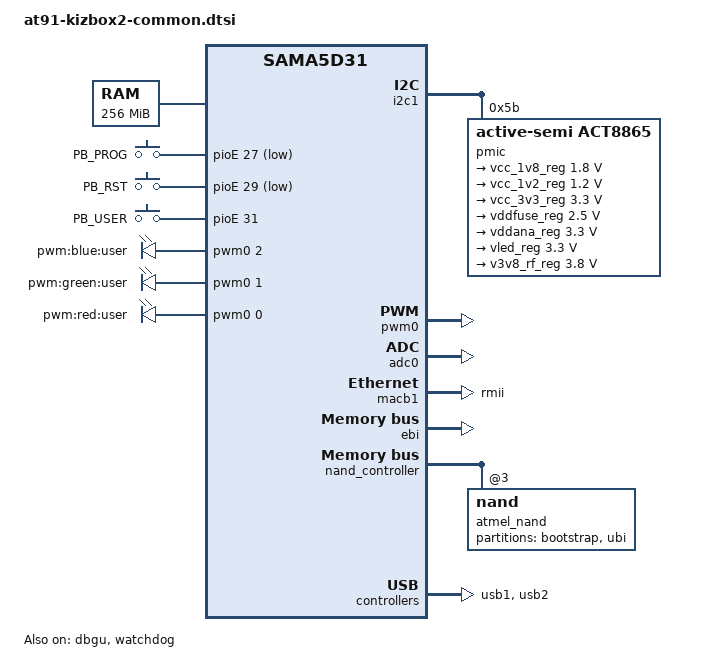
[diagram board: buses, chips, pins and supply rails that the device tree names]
// SPDX-License-Identifier: GPL-2.0
/*
 * at91-kizbox2_common.dtsi - Device Tree Include file for
 * Overkiz Kizbox 2 family SoC
 *
 * Copyright (C) 2014-2018 Overkiz SAS
 *
 * Authors: Antoine Aubert <a.aubert@overkiz.com>
 *          Gaël Portay <g.portay@overkiz.com>
 *          Kévin Raymond <k.raymond@overkiz.com>
 */
#include "sama5d31.dtsi"

/ {
	chosen {
		bootargs = "ubi.mtd=ubi";
		stdout-path = &dbgu;
	};

	memory@20000000 {
		reg = <0x20000000 0x10000000>;
	};

	clocks {
		slow_xtal {
			clock-frequency = <32768>;
		};

		main_xtal {
			clock-frequency = <12000000>;
		};
	};

	gpio_keys {
		compatible = "gpio-keys";
		#address-cells = <1>;
		#size-cells = <0>;

		prog {
			label = "PB_PROG";
			gpios = <&pioE 27 GPIO_ACTIVE_LOW>;
			linux,code = <0x102>;
			wakeup-source;
		};

		reset {
			label = "PB_RST";
			gpios = <&pioE 29 GPIO_ACTIVE_LOW>;
			linux,code = <0x100>;
			wakeup-source;
		};

		user {
			label = "PB_USER";
			gpios = <&pioE 31 GPIO_ACTIVE_HIGH>;
			linux,code = <0x101>;
			wakeup-source;
		};
	};

	pwm_leds {
		compatible = "pwm-leds";

		blue {
			label = "pwm:blue:user";
			pwms = <&pwm0 2 10000000 0>;
			max-brightness = <255>;
			linux,default-trigger = "none";
		};

		green {
			label = "pwm:green:user";
			pwms = <&pwm0 1 10000000 0>;
			max-brightness = <255>;
			linux,default-trigger = "default-on";
		};

		red {
			label = "pwm:red:user";
			pwms = <&pwm0 0 10000000 0>;
			max-brightness = <255>;
			linux,default-trigger = "default-on";
		};
	};
};

&i2c1 {
	status = "okay";

	pmic: act8865@5b {
		compatible = "active-semi,act8865";
		reg = <0x5b>;
		status = "okay";

		regulators {
			vcc_1v8_reg: DCDC_REG1 {
				regulator-name = "VCC_1V8";
				regulator-min-microvolt = <1800000>;
				regulator-max-microvolt = <1800000>;
				regulator-always-on;
			};

			vcc_1v2_reg: DCDC_REG2 {
				regulator-name = "VCC_1V2";
				regulator-min-microvolt = <1200000>;
				regulator-max-microvolt = <1200000>;
				regulator-always-on;
			};

			vcc_3v3_reg: DCDC_REG3 {
				regulator-name = "VCC_3V3";
				regulator-min-microvolt = <3300000>;
				regulator-max-microvolt = <3300000>;
				regulator-always-on;
			};

			vddfuse_reg: LDO_REG1 {
				regulator-name = "FUSE_2V5";
				regulator-min-microvolt = <2500000>;
				regulator-max-microvolt = <2500000>;
			};

			vddana_reg: LDO_REG2 {
				regulator-name = "VDDANA";
				regulator-min-microvolt = <3300000>;
				regulator-max-microvolt = <3300000>;
				regulator-always-on;
			};

			vled_reg: LDO_REG3 {
				regulator-name = "VLED";
				regulator-min-microvolt = <3300000>;
				regulator-max-microvolt = <3300000>;
				regulator-always-on;
			};

			v3v8_rf_reg: LDO_REG4 {
				regulator-name = "V3V8_RF";
				regulator-min-microvolt = <3800000>;
				regulator-max-microvolt = <3800000>;
				regulator-always-on;
			};
		};
	};
};

&usart0 {
	atmel,use-dma-rx;
	atmel,use-dma-tx;
	status = "disabled";
};

&usart1 {
	atmel,use-dma-rx;
	atmel,use-dma-tx;
	status = "disabled";
};

&usart2 {
	atmel,use-dma-rx;
	atmel,use-dma-tx;
	status = "disabled";
};

&pwm0 {
	pinctrl-names = "default";
	pinctrl-0 = <&pinctrl_pwm0_pwmh0_1
		     &pinctrl_pwm0_pwmh1_1
		     &pinctrl_pwm0_pwmh2_0>;
	status = "okay";
};

&adc0 {
	atmel,adc-vref = <3333>;
	status = "okay";
};

&macb1 {
	phy-mode = "rmii";
	status = "okay";
};

&dbgu {
	status = "okay";
};

&watchdog {
	status = "okay";
};

&ebi {
	pinctrl-0 = <&pinctrl_ebi_nand_addr>;
	pinctrl-names = "default";
	status = "okay";
};

&nand_controller {
	status = "okay";

	nand@3 {
		reg = <0x3 0x0 0x2>;
		atmel,rb = <0>;
		nand-bus-width = <8>;
		nand-ecc-mode = "hw";
		nand-ecc-strength = <4>;
		nand-ecc-step-size = <512>;
		nand-on-flash-bbt;
		label = "atmel_nand";

		partitions {
			compatible = "fixed-partitions";
			#address-cells = <1>;
			#size-cells = <1>;

			bootstrap@0 {
				label = "bootstrap";
				reg = <0x0 0x20000>;
			};

			ubi@20000 {
				label = "ubi";
				reg = <0x20000 0x7fe0000>;
			};
		};
	};
};

&usb1 {
	status = "okay";
};

&usb2 {
	status = "okay";
};

/* WMBUS (inverted with IO in the latest schematic) */
&pinctrl_usart0 {
	atmel,pins =
		<AT91_PIOD 17 AT91_PERIPH_A AT91_PINCTRL_NONE
		 AT91_PIOD 18 AT91_PERIPH_A AT91_PINCTRL_PULL_UP
		 AT91_PIOE 2 AT91_PERIPH_GPIO AT91_PINCTRL_MULTI_DRIVE>;
};

/* RTS */
&pinctrl_usart1 {
	atmel,pins =
		<AT91_PIOB 28 AT91_PERIPH_A AT91_PINCTRL_NONE
		 AT91_PIOB 29 AT91_PERIPH_A AT91_PINCTRL_PULL_UP
		 AT91_PIOE 7 AT91_PERIPH_GPIO AT91_PINCTRL_MULTI_DRIVE>;
};

/* IO (inverted with WMBUS in the latest schematic) */
&pinctrl_usart2 {
	atmel,pins =
		<AT91_PIOE 25 AT91_PERIPH_B AT91_PINCTRL_NONE
		 AT91_PIOE 26 AT91_PERIPH_B AT91_PINCTRL_PULL_UP
		 AT91_PIOE 8 AT91_PERIPH_GPIO AT91_PINCTRL_MULTI_DRIVE>;
};
